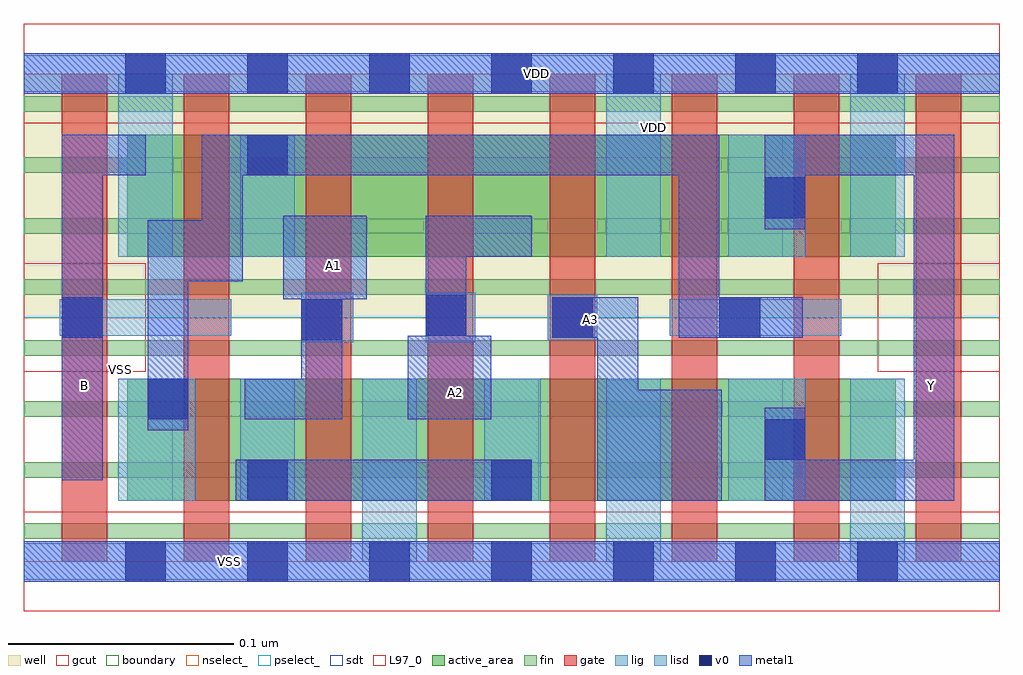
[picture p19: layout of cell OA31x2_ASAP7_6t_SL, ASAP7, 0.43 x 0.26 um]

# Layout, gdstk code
import gdstk
lib = gdstk.Library(unit=1e-6, precision=2.5e-10)
def R(c, l, rs):  # rectangles x0, y0, x1, y1
    for r in rs: c.add(gdstk.rectangle(r[:2], r[2:], *l))
def A(c, l, x, y, w, h, nx, ny, dx, dy):  # array of equal rectangles
    R(c, l, [(x+i*dx, y+j*dy, x+i*dx+w, y+j*dy+h) for i in range(nx) for j in range(ny)])
def P(c, l, *ps):  # polygons
    for p in ps: c.add(gdstk.Polygon(p, *l))
well = (1, 0)
fin = (2, 0)
gate = (7, 0)
gcut = (10, 0)
active_area = (11, 0)
nselect_ = (12, 0)
pselect_ = (13, 0)
lig = (16, 0)
lisd = (17, 0)
v0 = (18, 0)
metal1 = (19, 0)
sdt = (88, 0)
L97_0 = (97, 0)
boundary = (100, 0)

oa31x2_asap7_6t_sl = lib.new_cell('OA31x2_ASAP7_6t_SL')
R(oa31x2_asap7_6t_sl, well, [(0,0.108,0.432,0.216)])
A(oa31x2_asap7_6t_sl, fin, 0, 0.01, 0.432, 0.007, 1, 7, 0, 0.027)
R(oa31x2_asap7_6t_sl, fin, [(0,0.172,0.432,0.179), (0,0.199,0.432,0.206), (0,0.199,0.432,0.206)])
A(oa31x2_asap7_6t_sl, gate, 0.017, 0, 0.02, 0.216, 8, 1, 0.054, 0)
R(oa31x2_asap7_6t_sl, gcut, [(0,-0.022,0.432,0.022), (0,0.084,0.054,0.132), (0.378,0.084,0.432,0.132), (0,0.194,0.432,0.238)])
R(oa31x2_asap7_6t_sl, active_area, [(0.046,0.027,0.386,0.081), (0.046,0.135,0.386,0.189)])
R(oa31x2_asap7_6t_sl, nselect_, [(0,0,0.432,0.108)])
R(oa31x2_asap7_6t_sl, pselect_, [(0,0.108,0.432,0.216)])
R(oa31x2_asap7_6t_sl, lig, [(0,-0.008,0.432,0.008), (0.123,0.097,0.146,0.119), (0.178,0.097,0.2,0.119), (0.232,0.098,0.254,0.118), (0.016,0.1,0.092,0.116), (0.286,0.1,0.362,0.116), (0,0.208,0.432,0.224)])
A(oa31x2_asap7_6t_sl, lisd, 0.15, 0, 0.024, 0.081, 3, 1, 0.108, 0)
R(oa31x2_asap7_6t_sl, lisd, [(0.042,0.027,0.076,0.081), (0.096,0.027,0.12,0.081), (0.204,0.027,0.229,0.081), (0.312,0.027,0.346,0.081), (0.042,0.135,0.066,0.216), (0.096,0.135,0.12,0.189), (0.258,0.135,0.282,0.216), (0.312,0.135,0.346,0.189), (0.366,0.135,0.39,0.216)])
A(oa31x2_asap7_6t_sl, v0, 0.045, -0.009, 0.018, 0.018, 7, 2, 0.054, 0.216)
R(oa31x2_asap7_6t_sl, v0, [(0.099,0.027,0.117,0.045), (0.207,0.027,0.225,0.045), (0.328,0.045,0.346,0.063), (0.055,0.063,0.073,0.081), (0.123,0.098,0.141,0.116), (0.017,0.099,0.035,0.117), (0.234,0.099,0.252,0.117), (0.308,0.099,0.326,0.117), (0.178,0.1,0.196,0.118), (0.328,0.152,0.346,0.17), (0.099,0.171,0.117,0.189)])
R(oa31x2_asap7_6t_sl, metal1, [(0,-0.009,0.432,0.009), (0.094,0.027,0.225,0.045), (0,0.207,0.432,0.225)])
P(oa31x2_asap7_6t_sl, metal1, [(0.152,0.153),(0.115,0.153),(0.115,0.116),(0.123,0.116),(0.123,0.081),(0.098,0.081),(0.098,0.063),(0.141,0.063),(0.141,0.116),(0.152,0.116)],
  [(0.054,0.189),(0.017,0.189),(0.017,0.036),(0.035,0.036),(0.035,0.171),(0.054,0.171)],
  [(0.412,0.189),(0.328,0.189),(0.328,0.147),(0.346,0.147),(0.346,0.171),(0.394,0.171),(0.394,0.045),(0.346,0.045),(0.346,0.068),(0.328,0.068),(0.328,0.027),(0.412,0.027)],
  [(0.345,0.117),(0.308,0.117),(0.308,0.189),(0.079,0.189),(0.079,0.151),(0.055,0.151),(0.055,0.058),(0.073,0.058),(0.073,0.124),(0.097,0.124),(0.097,0.171),(0.29,0.171),(0.29,0.099),(0.345,0.099)],
  [(0.309,0.076),(0.272,0.076),(0.272,0.117),(0.234,0.117),(0.234,0.099),(0.254,0.099),(0.254,0.027),(0.309,0.027)],
  [(0.225,0.153),(0.178,0.153),(0.178,0.1),(0.17,0.1),(0.17,0.063),(0.207,0.063),(0.207,0.1),(0.196,0.1),(0.196,0.135),(0.225,0.135)])
A(oa31x2_asap7_6t_sl, sdt, 0.042, 0.027, 0.024, 0.054, 7, 1, 0.054, 0)
A(oa31x2_asap7_6t_sl, sdt, 0.258, 0.135, 0.024, 0.054, 3, 1, 0.054, 0)
R(oa31x2_asap7_6t_sl, sdt, [(0.042,0.135,0.066,0.189), (0.096,0.135,0.12,0.189)])
R(oa31x2_asap7_6t_sl, L97_0, [(0,0,0.432,0.216)])
R(oa31x2_asap7_6t_sl, boundary, [(0,0,0.432,0.216)])
oa31x2_asap7_6t_sl.add(gdstk.Label('VDD', (0.227,0.216), layer=19, texttype=251))
oa31x2_asap7_6t_sl.add(gdstk.Label('VSS', (0.091,0), layer=19, texttype=251))
oa31x2_asap7_6t_sl.add(gdstk.Label('A3', (0.251,0.107), layer=19, texttype=251))
oa31x2_asap7_6t_sl.add(gdstk.Label('B', (0.027,0.078), layer=19, texttype=251))
oa31x2_asap7_6t_sl.add(gdstk.Label('Y', (0.402,0.078), layer=19, texttype=251))
oa31x2_asap7_6t_sl.add(gdstk.Label('A2', (0.191,0.075), layer=19, texttype=251))
oa31x2_asap7_6t_sl.add(gdstk.Label('A1', (0.137,0.131), layer=19, texttype=251))
oa31x2_asap7_6t_sl.add(gdstk.Label('VDD', (0.279,0.192), layer=1, texttype=251))
oa31x2_asap7_6t_sl.add(gdstk.Label('VSS', (0.043,0.085), layer=3, texttype=251))

lib.write_gds('OA31x2_ASAP7_6t_SL.gds')
